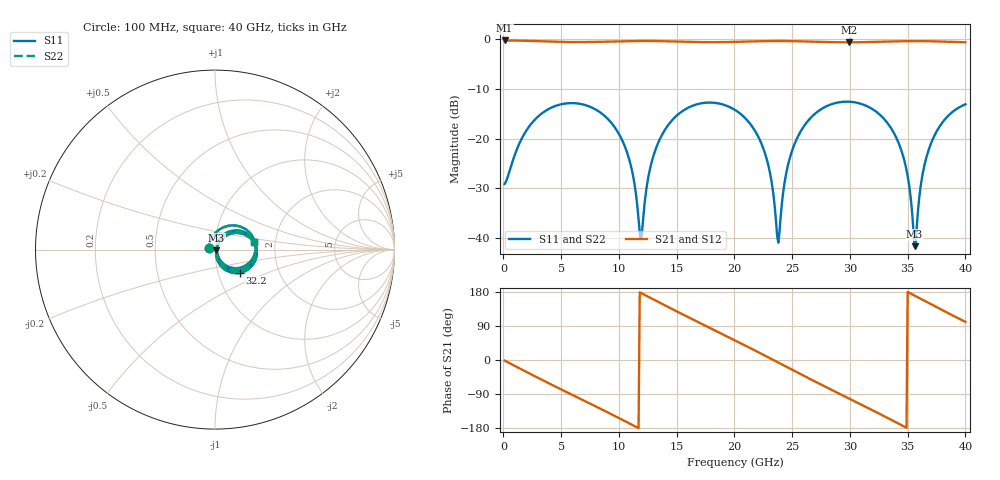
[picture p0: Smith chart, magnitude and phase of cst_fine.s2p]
! thru_BV_ts_refinout2_out: 2×thru B.Cu, 8 mm
! stackup: as the board case
! ports: 1 near, 2 far
! CST Studio Suite 2025.5 Release from 2025-05-30, time domain (FIT, hexahedral, PBA), 226440 mesh cells, 41 s
! mesh: {'lpw': 30.0, 'lpb': 30.0, 'minstep': 0.0, 'ratio': 20}; ports: port 1 (face); port 2 (face)
! interpolated from CST's 1001 samples to the case grid
# Hz S RI R 50
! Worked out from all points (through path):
!   400 points, 100 MHz to 40 GHz, reference 50 ohm
!   highest |S21| = -0.31 dB at 100 MHz (marker M1); lowest = -0.7 dB at 29.9 GHz (marker M2)
!   group delay of S21, straight-line fit = 42.9 ps
!   lowest |S11| = -41.6 dB at 35.6 GHz (marker M3), VSWR 1.02, Z = 50.8 - j0.35 ohm
!   |S11| at or under -10 dB: start of sweep to end of sweep
!   |S22| runs from -41.6 to -12.6 dB; largest |S21 - S12| = 5.1e-07
!   S11 on the Smith chart (normalised r, x): 100 MHz: 0.93, +0.01; 32.2 GHz: 1.27, -0.34; 40 GHz: 1.55, +0.13
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1e8  -0.0343 0.00709  0.9646 -0.0268  0.9646 -0.0268  -0.0343 0.00709
2.8e9  0.0841 0.1339  0.6816 -0.6623  0.6816 -0.6623  0.0841 0.1339
6.8e9  0.2189 -0.0307  -0.2336 -0.8998  -0.2336 -0.8998  0.2189 -0.0307
1.04e10  0.0452 -0.0774  -0.8887 -0.3328  -0.8887 -0.3328  0.0452 -0.0774
1.13e10  0.016 -0.0342  -0.9466 -0.1062  -0.9466 -0.1062  0.016 -0.0342
1.19e10  0.00982 0.000327  -0.9522 0.051  -0.9522 0.051  0.00982 0.000327
1.25e10  0.0155 0.0351  -0.9305 0.207  -0.9305 0.207  0.0155 0.0351
1.34e10  0.0444 0.0792  -0.849 0.4275  -0.849 0.4275  0.0444 0.0792
1.68e10  0.2161 0.0482  -0.1757 0.9134  -0.1757 0.9134  0.2161 0.0482
2.01e10  0.1566 -0.1112  0.5864 0.7273  0.5864 0.7273  0.1566 -0.1112
2.26e10  0.0263 -0.069  0.9278 0.2015  0.9278 0.2015  0.0263 -0.069
2.38e10  0.00902 2.5e-05  0.9455 -0.1124  0.9455 -0.1124  0.00902 2.51e-05
2.47e10  0.0271 0.0512  0.8871 -0.342  0.8871 -0.342  0.0271 0.0512
2.67e10  0.1328 0.0993  0.5712 -0.7457  0.5712 -0.7457  0.1328 0.0993
2.99e10  0.2308 -0.0403  -0.1818 -0.9061  -0.1818 -0.9061  0.2308 -0.0403
3.22e10  0.1373 -0.1294  -0.6754 -0.6443  -0.6754 -0.6443  0.1373 -0.1294
3.34e10  0.0665 -0.1182  -0.8538 -0.3973  -0.8538 -0.3973  0.0665 -0.1182
3.49e10  0.01 -0.0473  -0.9489 -0.0191  -0.9489 -0.0191  0.01 -0.0473
3.56e10  0.00756 -0.00344  -0.9356 0.1659  -0.9356 0.1659  0.00756 -0.00344
3.62e10  0.0192 0.0326  -0.8941 0.3197  -0.8941 0.3197  0.0192 0.0326
3.69e10  0.0471 0.067  -0.813 0.4861  -0.813 0.4861  0.0471 0.067
4e10  0.2169 0.0404  -0.1696 0.9101  -0.1696 0.9101  0.2169 0.0404
